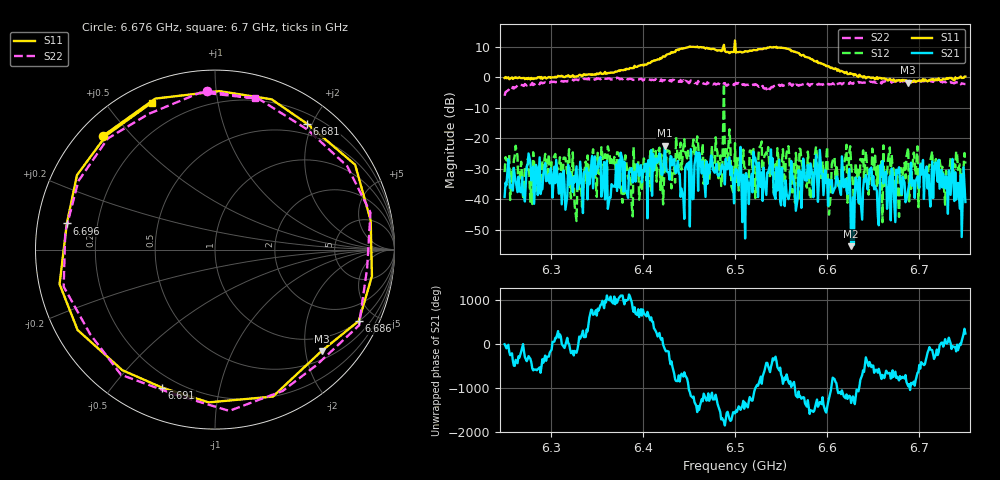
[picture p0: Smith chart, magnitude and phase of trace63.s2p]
# Hz S RI R 50
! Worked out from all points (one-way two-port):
!   401 points, 6.25 GHz to 6.75 GHz, reference 50 ohm
!   highest |S21| = -22.39 dB at 6.424 GHz (marker M1); lowest = -55.4 dB at 6.626 GHz (marker M2)
!   lowest |S11| = -1.7 dB at 6.688 GHz (marker M3), VSWR 10.09, Z = 33.8 - j117 ohm
!   |S11| at or under -10 dB: nowhere
!   |S22| runs from -6.0 to -0.1 dB; largest |S21 - S12| = 0.8
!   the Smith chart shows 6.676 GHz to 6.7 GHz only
!   S11 on the Smith chart (normalised r, x): 6.676 GHz: 0.07, +0.42; 6.681 GHz: 0.34, +1.93; 6.686 GHz: 1.01, -4.03; 6.691 GHz: 0.14, -0.68; 6.696 GHz: 0.09, +0.09; 6.7 GHz: 0.08, +0.66
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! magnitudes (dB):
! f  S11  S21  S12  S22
! 6.25 GHz  -0.2  -39.2  -31.1  -6.0
! 6.276 GHz  -0.1  -25.0  -26.5  -2.4
! 6.318 GHz  0.5  -39.0  -31.6  -1.3
! 6.334 GHz  0.4  -36.5  -42.4  -0.9
! 6.418 GHz  5.9  -24.9  -23.1  -1.2
! 6.424 GHz  6.8  -22.4  -25.7  -0.9
! 6.442 GHz  9.4  -36.5  -30.3  -1.5
! 6.458 GHz  10.0  -24.4  -22.0  -1.8
! 6.5 GHz  12.1  -32.0  -21.6  -2.2
! 6.584 GHz  5.9  -32.2  -32.9  -2.2
! 6.619 GHz  1.4  -34.6  -27.1  -1.9
! 6.626 GHz  1.2  -55.4  -28.4  -1.9
! 6.645 GHz  0.1  -33.8  -38.5  -1.7
! 6.668 GHz  -0.5  -32.4  -23.0  -1.2
! 6.676 GHz  -1.0  -31.5  -32.2  -1.1
! 6.681 GHz  -1.2  -38.4  -38.7  -1.0
! 6.686 GHz  -1.0  -40.3  -26.1  -1.2
! 6.688 GHz  -1.7  -36.9  -23.0  -0.9
! 6.691 GHz  -1.7  -28.0  -36.6  -1.5
! 6.696 GHz  -1.5  -34.0  -32.0  -1.3
! 6.7 GHz  -1.0  -36.2  -32.6  -1.2
! 6.75 GHz  0.3  -40.9  -28.3  -2.2
